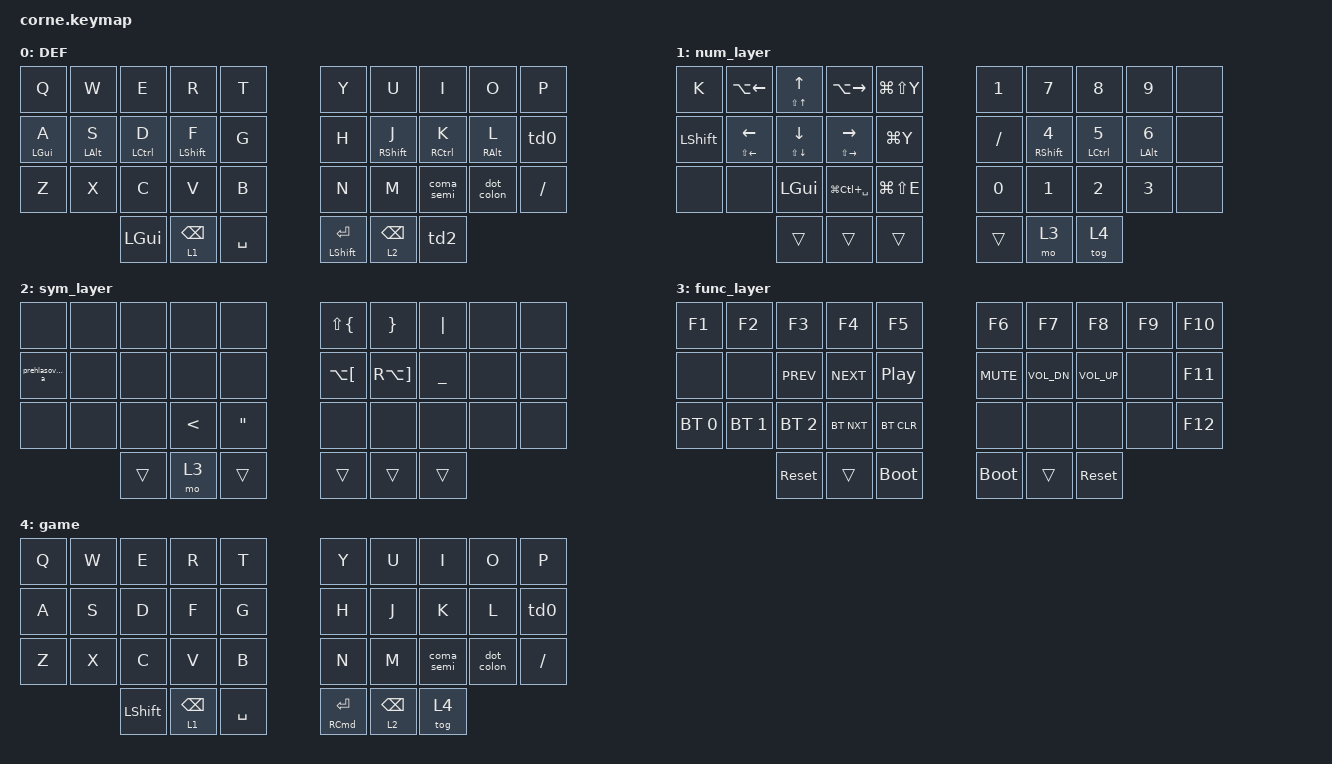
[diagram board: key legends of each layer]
/*
 * Copyright (c) 2020 The ZMK Contributors
 *
 * SPDX-License-Identifier: MIT
 */

#include <behaviors.dtsi>
#include <dt-bindings/zmk/bt.h>
#include <dt-bindings/zmk/keys.h>

#define DEFAULT_L 0

&lt {
    quick-tap-ms = <200>;
    tapping-term-ms = <200>;
};

&caps_word { continue-list = <UNDERSCORE BACKSPACE DELETE MINUS LSHIFT EQUAL SPACE KP_SLASH SLASH>; };

/ {
    chosen { zmk,matrix_transform = &five_column_transform; };

    behaviors {
        hm: homerow_mods {
            compatible = "zmk,behavior-hold-tap";
            label = "HOMEROW_MODS";
            #binding-cells = <2>;
            tapping-term-ms = <300>;
            flavor = "balanced";
            bindings = <&kp>, <&kp>;

            quick-tap-ms = <200>;
            require-prior-idle-ms = <150>;
        };

        coma_semi: coma_semi {
            compatible = "zmk,behavior-mod-morph";
            label = "COMA_SEMI";
            bindings = <&kp COMMA>, <&kp SEMI>;

            #binding-cells = <0>;
            mods = <(MOD_LALT|MOD_RALT)>;
            keep-mods = <(MOD_LSFT|MOD_RSFT)>;
        };

        dot_colon: dot_colon {
            compatible = "zmk,behavior-mod-morph";
            label = "DOT_COLON";
            bindings = <&kp PERIOD>, <&kp COLON>, <&kp LA(COLON)>;

            #binding-cells = <0>;
            mods = <(MOD_LALT|MOD_RALT)>;
            keep-mods = <(MOD_LSFT|MOD_RSFT)>;
        };

        td0: tap_dance_0 {
            compatible = "zmk,behavior-tap-dance";
            #binding-cells = <0>;
            bindings = <&hm LEFT_COMMAND SEMI>, <&kp APOSTROPHE>;
        };

        td2: tap_dance_2 {
            compatible = "zmk,behavior-tap-dance";
            #binding-cells = <0>;
            bindings = <&kp EQUAL>, <&caron>;

            tapping-term-ms = <250>;
        };
    };

    combos {
        compatible = "zmk,combos";

        toggle_shift {
            bindings = <&caps_word>;
            key-positions = <16 13>;
            layers = <0 2 1 3 4>;
        };

        esc-combo {
            bindings = <&kp ESCAPE>;
            key-positions = <2 3>;
            timeout-ms = <30>;
            layers = <0 2 1 3 4>;
        };

        cmd_space {
            bindings = <&kp LG(SPACE)>;
            key-positions = <12 13>;
            layers = <0 1 3 2>;
        };

        cmb_tab {
            bindings = <&kp TAB>;
            key-positions = <1 2>;
            layers = <0 2 1 3>;
        };

        Alfred {
            bindings = <&kp LG(LS(SPACE))>;
            key-positions = <11 12>;
            layers = <0 1 2 3>;
        };
    };

    macros {
        caron: caron {
            compatible = "zmk,behavior-macro";
            #binding-cells = <0>;
            bindings =
                <&macro_press>,
                <&kp LEFT_SHIFT &kp EQUAL>,
                <&macro_release>,
                <&kp LEFT_SHIFT &kp EQUAL>;

            label = "CARON";
        };

        zavinac: zavinac {
            compatible = "zmk,behavior-macro";
            #binding-cells = <0>;
            bindings = <&kp LA(NUMBER_2)>;
            label = "ZAVINAC";
        };

        prehlasovane_a: prehlasovane_a {
            compatible = "zmk,behavior-macro";
            #binding-cells = <0>;
            bindings = <&kp RIGHT_BRACKET>;
            label = "PREHLASOVANE_A";
        };

        emoji_select: emoji_select {
            compatible = "zmk,behavior-macro";
            #binding-cells = <0>;
            bindings = <&kp LEFT_COMMAND &kp LEFT_CONTROL &kp SPACE>;
            label = "EMOJI_SELECT";
        };
    };

    keymap {
        compatible = "zmk,keymap";

        default_layer {
            label = "DEF";
            bindings = <
  &kp Q           &kp W           &kp E               &kp R             &kp T        &kp Y               &kp U              &kp I                &kp O            &kp P
  &hm LEFT_GUI A  &hm LEFT_ALT S  &hm LEFT_CONTROL D  &hm LEFT_SHIFT F  &kp G        &kp H               &hm RIGHT_SHIFT J  &hm RIGHT_CONTROL K  &hm RIGHT_ALT L  &td0
  &kp Z           &kp X           &kp C               &kp V             &kp B        &kp N               &kp M              &coma_semi           &dot_colon       &kp SLASH
                                  &kp LEFT_GUI        &lt 1 BACKSPACE   &kp SPACE    &mt LEFT_SHIFT RET  &lt 2 BACKSPACE    &td2
            >;
        };

        num_layer {
            bindings = <
  &kp K           &kp LA(LEFT)       &mt LS(UP_ARROW) UP_ARROW  &kp LA(RIGHT)        &kp LG(LS(Y))    &kp N1     &kp N7              &kp N8        &kp N9                 &none
  &kp LEFT_SHIFT  &mt LS(LEFT) LEFT  &mt LS(DOWN_ARROW) DOWN    &mt LS(RIGHT) RIGHT  &kp LG(Y)        &kp SLASH  &hm RIGHT_SHIFT N4  &hm LCTRL N5  &hm LEFT_ALT NUMBER_6  &none
  &none           &none              &kp LEFT_GUI               &kp LG(LC(SPACE))    &kp LG(LS(E))    &kp N0     &kp N1              &kp NUMBER_2  &kp NUMBER_3           &none
                                     &trans                     &trans               &trans           &trans     &mo 3               &tog 4
            >;
        };

        sym_layer {
            bindings = <
  &none            &none  &none   &none          &none                &kp LS(LEFT_BRACE)    &kp RIGHT_BRACE        &kp PIPE   &none  &none
  &prehlasovane_a  &none  &none   &none          &none                &kp LA(LEFT_BRACKET)  &kp RA(RIGHT_BRACKET)  &kp UNDER  &none  &none
  &none            &none  &none   &kp LESS_THAN  &kp DOUBLE_QUOTES    &none                 &none                  &none      &none  &none
                          &trans  &mo 3          &trans               &trans                &trans                 &trans
            >;
        };

        func_layer {
            bindings = <
  &kp F1        &kp F2        &kp F3        &kp F4      &kp F5              &kp F6       &kp F7        &kp F8           &kp F9  &kp F10
  &none         &none         &kp K_PREV    &kp C_NEXT  &kp C_PLAY_PAUSE    &kp C_MUTE   &kp C_VOL_DN  &kp C_VOLUME_UP  &none   &kp F11
  &bt BT_SEL 0  &bt BT_SEL 1  &bt BT_SEL 2  &bt BT_NXT  &bt BT_CLR          &none        &none         &none            &none   &kp F12
                              &sys_reset    &trans      &bootloader         &bootloader  &trans        &sys_reset
            >;
        };

        GAME_LAYER {
            label = "game";
            bindings = <
  &kp Q  &kp W  &kp E           &kp R            &kp T        &kp Y                  &kp U            &kp I       &kp O       &kp P
  &kp A  &kp S  &kp D           &kp F            &kp G        &kp H                  &kp J            &kp K       &kp L       &td0
  &kp Z  &kp X  &kp C           &kp V            &kp B        &kp N                  &kp M            &coma_semi  &dot_colon  &kp SLASH
                &kp LEFT_SHIFT  &lt 1 BACKSPACE  &kp SPACE    &mt RIGHT_COMMAND RET  &lt 2 BACKSPACE  &tog 4
            >;
        };
    };
};
